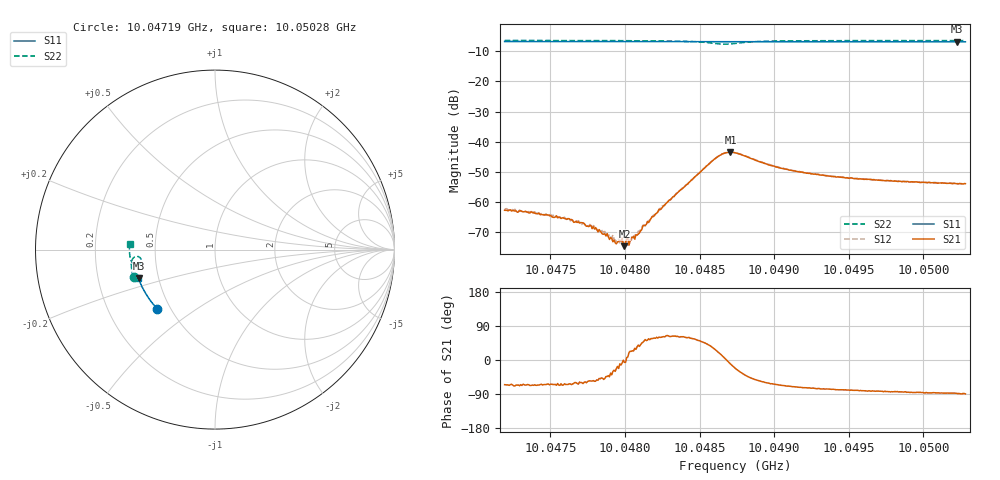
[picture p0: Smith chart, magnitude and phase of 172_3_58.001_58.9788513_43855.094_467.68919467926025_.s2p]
#  HZ  S  RI  R  50.00
! Rohde & Schwarz Vector Network Analyzer
! Rohde-Schwarz,ZNB20-2Port,1311601062101988,3.16
! Created: UTC 3/21/2024, 12:57:59 AM
! freq[Hz]  re:S11  im:S11  re:S21  im:S21  re:S12  im:S12  re:S22  im:S22
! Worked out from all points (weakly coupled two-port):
!   401 points, 10.04719 GHz to 10.05028 GHz, reference 50 ohm
!   highest |S21| = -43.48 dB at 10.04871 GHz (marker M1); lowest = -74.7 dB at 10.048 GHz (marker M2)
!   lowest |S11| = -6.8 dB at 10.05023 GHz (marker M3), VSWR 2.67, Z = 19.3 - j7.73 ohm
!   |S11| at or under -10 dB: nowhere
!   |S22| runs from -7.6 to -6.4 dB; largest |S21 - S12| = 0.00045
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1.0047193e10  -0.3224 -0.3285  0.000305 -0.000659  0.000349 -0.000662  -0.4537 -0.1538
1.0047502e10  -0.3363 -0.3134  0.00026 -0.000531  0.000276 -0.000551  -0.4597 -0.133
1.0047711e10  -0.3452 -0.303  0.000229 -0.00039  0.000243 -0.000345  -0.463 -0.1181
1.004778e10  -0.3481 -0.2994  0.000206 -0.000297  0.000229 -0.000279  -0.4639 -0.113
1.0047819e10  -0.3497 -0.2973  0.000189 -0.000257  0.000201 -0.000252  -0.4644 -0.11
1.0047849e10  -0.351 -0.2956  0.000195 -0.000218  0.000246 -0.00021  -0.4647 -0.1078
1.0047934e10  -0.3545 -0.2913  0.000182 -0.000105  0.000213 -9.1e-05  -0.4655 -0.101
1.0047958e10  -0.3556 -0.2901  0.000206 -8.48e-05  0.000234 -6.04e-05  -0.4658 -0.0991
1.0047996e10  -0.357 -0.2878  0.000183 -2.01e-05  0.000217 1.69e-05  -0.4661 -0.0961
1.0048027e10  -0.3581 -0.2863  0.00018 6.47e-05  0.000209 5.38e-05  -0.4664 -0.0934
1.0048081e10  -0.3603 -0.2834  0.00023 0.00016  0.000226 0.000194  -0.4667 -0.0889
1.0048135e10  -0.3625 -0.2805  0.000241 0.000331  0.000227 0.000324  -0.4669 -0.0841
1.0048228e10  -0.3661 -0.2756  0.000372 0.000656  0.000301 0.000654  -0.4664 -0.0751
1.0048591e10  -0.379 -0.2555  0.00419 0.00256  0.00405 0.00286  -0.4293 -0.0383
1.0048652e10  -0.381 -0.2521  0.00614 0.00119  0.00607 0.00158  -0.413 -0.0509
1.0048706e10  -0.3826 -0.2495  0.00659 -0.00121  0.00668 -0.000765  -0.4124 -0.0709
1.0048737e10  -0.3838 -0.2477  0.00611 -0.00237  0.00629 -0.00196  -0.419 -0.0799
1.0049023e10  -0.3937 -0.2316  0.00159 -0.00341  0.00178 -0.00336  -0.4658 -0.0648
1.0049254e10  -0.4011 -0.2182  0.000791 -0.00282  0.00097 -0.0028  -0.4731 -0.0425
1.0049772e10  -0.4156 -0.1872  0.00025 -0.00223  0.000387 -0.0022  -0.4767 -0.00214
1.0050227e10  -0.4261 -0.1592  5.49e-05 -0.002  0.000185 -0.00201  -0.4757 0.03
1.0050281e10  -0.4274 -0.1559  1.87e-05 -0.00201  0.000166 -0.00199  -0.4756 0.0336
